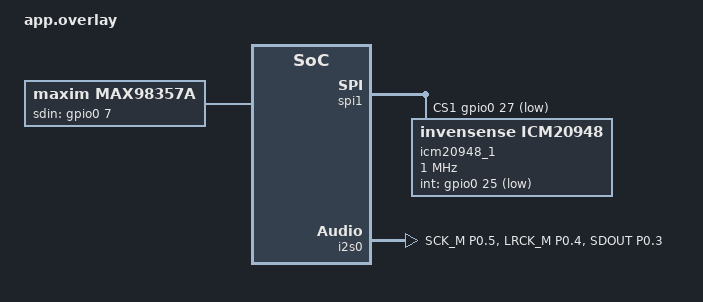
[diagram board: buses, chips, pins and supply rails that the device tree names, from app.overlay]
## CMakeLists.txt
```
cmake_minimum_required(VERSION 3.20.0)
find_package(Zephyr REQUIRED HINTS $ENV{ZEPHYR_BASE})

project(muscle_stiffness)

if(CONFIG_APP_DUAL_I2C_Z_FIFO)
target_sources(app PRIVATE src/dual_i2c_z_fifo.c)
elseif(CONFIG_APP_DUAL_I2C_Z)
target_sources(app PRIVATE src/dual_i2c_z.c)
elseif(CONFIG_APP_IMU_I2C_DIAG)
target_sources(app PRIVATE src/i2c_diag.c)
else()
target_sources(app PRIVATE
  src/main.c
  src/icm20948.c
  src/max98357a.c
)
endif()

target_include_directories(app PRIVATE include)
```

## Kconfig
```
# Fixed-frequency MAX98357A tone test
#
# The nRF52832 I2S peripheral runs at 8 kHz because that is the only
# MAX98357A-supported LRCLK rate that the 32 MHz clock can divide exactly.
# Keep the tone below 2 kHz so there are at least four samples per cycle.

mainmenu "nRF52832 MAX98357A tone test"

config APP_DUAL_I2C_Z_FIFO
	bool "Dual independent I2C Z acceleration acquisition via hardware FIFO"
	default n

config APP_DUAL_I2C_Z
	bool "Dual independent I2C Z acceleration acquisition"
	default n

config APP_IMU_I2C_DIAG
	bool "Standalone ICM20948 I2C diagnostic"
	default n

config APP_TONE_FREQ_HZ
	int "Fixed tone frequency (Hz)"
	default 400
	range 20 2000
	help
	  Frequency of the continuous sine tone sent to the MAX98357A.
	  The value is compiled into the image; change it and rebuild to use
	  a different fixed frequency.

config APP_TONE_AMPLITUDE
	int "Tone amplitude (16-bit PCM counts)"
	default 8000
	range 0 32767
	help
	  Peak amplitude of the sine tone.  8000 is about -12 dBFS, a
	  deliberately conservative level for the first hardware test.

source "Kconfig.zephyr"
```

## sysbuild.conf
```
SB_CONFIG_BOOTLOADER_MCUBOOT=y
SB_CONFIG_MCUBOOT_MODE_SINGLE_APP=y
SB_CONFIG_BOOT_SIGNATURE_TYPE_ECDSA_P256=y
```

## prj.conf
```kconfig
# Fixed test tone: 400 Hz at about -12 dBFS.  Change these and rebuild to
# select another fixed frequency/level.
CONFIG_APP_TONE_FREQ_HZ=400
CONFIG_APP_TONE_AMPLITUDE=8000

# Board / console
CONFIG_CLOCK_CONTROL_NRF_K32SRC_RC=y
CONFIG_CONSOLE=y
CONFIG_SERIAL=y
CONFIG_UART_CONSOLE=y
CONFIG_PRINTK=y
CONFIG_LOG=y
CONFIG_LOG_MODE_IMMEDIATE=y
CONFIG_LOG_DEFAULT_LEVEL=3

# Drivers used by the application
CONFIG_GPIO=y
CONFIG_SPI=y
CONFIG_I2S=y
CONFIG_I2S_NRFX_TX_BLOCK_COUNT=4

# UART runs without hardware flow control; its pinctrl state is reduced to
# TX/RX in app.overlay so P0.05 and P0.07 are free for I2S.

# Main thread starts the tone thread and reports both IMUs every 2 seconds.
CONFIG_MAIN_STACK_SIZE=2048
```

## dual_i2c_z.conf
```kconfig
CONFIG_APP_DUAL_I2C_Z=y
CONFIG_I2C=y
CONFIG_LOG_MODE_IMMEDIATE=n
CONFIG_LOG_MODE_DEFERRED=y
```

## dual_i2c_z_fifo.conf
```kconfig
CONFIG_APP_DUAL_I2C_Z_FIFO=y
CONFIG_I2C=y
CONFIG_LOG_MODE_IMMEDIATE=n
CONFIG_LOG_MODE_DEFERRED=y
```

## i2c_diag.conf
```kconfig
CONFIG_APP_IMU_I2C_DIAG=y
CONFIG_I2C=y
```

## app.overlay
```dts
/*
 * Board overlay for the nRF52 DK (nRF52832).
 *
 * IMU pin range: P0.00-P0.08 and P0.25-P0.31, single SPI bus.
 *
 * P0.00/P0.01 are the 32.768 kHz crystal (XL1/XL2) on the DK, P0.02 is AREF,
 * P0.03/P0.04/P0.05/P0.07 are the MAX98357A I2S + SD_MODE pins, and P0.06/
 * P0.08 are the UART console.  There is therefore no usable 4.5 kHz signal
 * pin left in P0.00-P0.08.  All seven IMU signals are placed in P0.25-P0.31:
 *
 *   P0.31 = SCK    (SPI1 default)
 *   P0.30 = MOSI   (SPI1 default)
 *   P0.29 = MISO   (SPI1 default)
 *   P0.28 = CS1
 *   P0.27 = CS2    (I2C0 SCL on the DK, I2C0 is disabled below)
 *   P0.26 = INT1   (I2C0 SDA on the DK; use suitable level translation)
 *   P0.25 = INT2
 *
 * The DK push buttons P0.13-P0.16 have debouncing capacitors and are not used
 * for the 4.5 kHz data-ready edges.
 */

#include <zephyr/dt-bindings/gpio/gpio.h>

/ {
	max98357a: max98357a {
		compatible = "maxim,max98357a";
		status = "okay";
		i2s-controller = <&i2s0>;
		sdin-gpios = <&gpio0 7 GPIO_ACTIVE_HIGH>;
		sample-rate = <8000>;
		word-size = <16>;
		preload-blocks = <3>;
	};
};

/* ------------------------------------------------------------------------- */
/* UART console / MCUboot serial recovery.                                    */
/* Board silk (CH340 side): TXD -> P0.06, RXD <- P0.08.  The MCU therefore    */
/* transmits on P0.08 and receives on P0.06.  Do not use the nRF52 DK default */
/* P0.06=TX / P0.08=RX assignment on this board.  P0.05/P0.07 stay free for   */
/* the MAX98357A.                                                             */
/* ------------------------------------------------------------------------- */
&uart0 {
	/delete-property/ hw-flow-control;
};

&uart0_default {
	group1 {
		psels = <NRF_PSEL(UART_TX, 0, 8)>,
			<NRF_PSEL(UART_RX, 0, 6)>;
	};
};

&uart0_sleep {
	group1 {
		psels = <NRF_PSEL(UART_RX, 0, 6)>;
	};
	group2 {
		psels = <NRF_PSEL(UART_TX, 0, 8)>;
	};
};

/* ------------------------------------------------------------------------- */
/* P0.26/P0.27 are used by the IMU, so disable I2C0.                          */
/* P0.25/P0.23/P0.24 belong to SPI2's Arduino pin configuration; disable it. */
/* ------------------------------------------------------------------------- */
&i2c0 {
	status = "disabled";
};

&spi2 {
	status = "disabled";
};

/* ------------------------------------------------------------------------- */
/* SPI1: one bus, two chip selects, 1 MHz for bring-up, EasyDMA.             */
/* P0.31 = SCK, P0.30 = MOSI, P0.29 = MISO (board default SPI1 pins).         */
/* P0.28 = CS1, P0.27 = CS2.                                                  */
/* GY-ICM20948V2 CS/SDO/INT are 1.8 V signals: see README section 4.2.        */
/* ------------------------------------------------------------------------- */
&spi1 {
	compatible = "nordic,nrf-spim";
	status = "okay";
	cs-gpios = <&gpio0 28 GPIO_ACTIVE_LOW>,
		   <&gpio0 27 GPIO_ACTIVE_LOW>;
	pinctrl-0 = <&spi1_default>;
	pinctrl-1 = <&spi1_sleep>;
	pinctrl-names = "default", "sleep";

	icm20948_0: icm20948@0 {
		compatible = "invensense,icm20948";
		reg = <0>;
		/* Single-device test: keep CS0 inactive, only access IMU1. */
		status = "disabled";
		spi-max-frequency = <1000000>;
		int-gpios = <&gpio0 26 (GPIO_ACTIVE_LOW | GPIO_PULL_UP)>;
		accel-range-g = <8>;
		gyro-range-dps = <500>;
		accel-dlpf-bypass;
		gyro-dlpf-cfg = <7>;
		gyro-sample-rate-div = <0>;
	};

	icm20948_1: icm20948@1 {
		compatible = "invensense,icm20948";
		reg = <1>;
		status = "okay";
		spi-max-frequency = <1000000>;
		int-gpios = <&gpio0 25 (GPIO_ACTIVE_LOW | GPIO_PULL_UP)>;
		accel-range-g = <8>;
		gyro-range-dps = <500>;
		accel-dlpf-bypass;
		gyro-dlpf-cfg = <7>;
		gyro-sample-rate-div = <0>;
	};
};

/* ------------------------------------------------------------------------- */
/* I2S0: MAX98357A does not need MCLK.                                        */
/* P0.05 = BCLK, P0.04 = LRCLK, P0.03 = DIN                                  */
/* ------------------------------------------------------------------------- */
&pinctrl {
	i2s0_default: i2s0_default {
		group1 {
			psels = <NRF_PSEL(I2S_SCK_M, 0, 5)>,
				<NRF_PSEL(I2S_LRCK_M, 0, 4)>,
				<NRF_PSEL(I2S_SDOUT, 0, 3)>;
		};
	};

	i2s0_sleep: i2s0_sleep {
		group1 {
			psels = <NRF_PSEL(I2S_SCK_M, 0, 5)>,
				<NRF_PSEL(I2S_LRCK_M, 0, 4)>,
				<NRF_PSEL(I2S_SDOUT, 0, 3)>;
			low-power-enable;
		};
	};
};

&i2s0 {
	status = "okay";
	clock-source = "PCLK32M_HFXO";
	pinctrl-0 = <&i2s0_default>;
	pinctrl-1 = <&i2s0_sleep>;
	pinctrl-names = "default", "sleep";
};
```

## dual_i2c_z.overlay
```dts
&spi0 { status = "disabled"; };
&spi1 { status = "disabled"; };
&icm20948_0 { status = "disabled"; };
&icm20948_1 { status = "disabled"; };
&max98357a { status = "disabled"; };
&i2s0 { status = "disabled"; };
&pinctrl {
	dual0_default: dual0_default {
		group1 { psels = <NRF_PSEL(TWIM_SCL, 0, 29)>, <NRF_PSEL(TWIM_SDA, 0, 28)>; };
	};
	dual0_sleep: dual0_sleep {
		group1 { psels = <NRF_PSEL(TWIM_SCL, 0, 29)>, <NRF_PSEL(TWIM_SDA, 0, 28)>; low-power-enable; };
	};
	dual1_default: dual1_default {
		group1 { psels = <NRF_PSEL(TWIM_SCL, 0, 31)>, <NRF_PSEL(TWIM_SDA, 0, 30)>; };
	};
	dual1_sleep: dual1_sleep {
		group1 { psels = <NRF_PSEL(TWIM_SCL, 0, 31)>, <NRF_PSEL(TWIM_SDA, 0, 30)>; low-power-enable; };
	};
};
&i2c0 {
	compatible = "nordic,nrf-twim";
	status = "okay";
	clock-frequency = <400000>;
	pinctrl-0 = <&dual0_default>;
	pinctrl-1 = <&dual0_sleep>;
	pinctrl-names = "default", "sleep";
};
&i2c1 {
	compatible = "nordic,nrf-twim";
	status = "okay";
	clock-frequency = <400000>;
	pinctrl-0 = <&dual1_default>;
	pinctrl-1 = <&dual1_sleep>;
	pinctrl-names = "default", "sleep";
};
```

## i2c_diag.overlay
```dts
/* Apply after app.overlay. Keep the existing SCL/SDA wires. */
&spi1 { status = "disabled"; };
&icm20948_0 { status = "disabled"; };
&icm20948_1 { status = "disabled"; };
&max98357a { status = "disabled"; };
&i2s0 { status = "disabled"; };
&pinctrl {
	diag_i2c_default: diag_i2c_default {
		group1 {
			psels = <NRF_PSEL(TWIM_SCL, 0, 31)>,
				<NRF_PSEL(TWIM_SDA, 0, 30)>;
		};
	};
	diag_i2c_sleep: diag_i2c_sleep {
		group1 {
			psels = <NRF_PSEL(TWIM_SCL, 0, 31)>,
				<NRF_PSEL(TWIM_SDA, 0, 30)>;
			low-power-enable;
		};
	};
};
&i2c0 {
	status = "okay";
	clock-frequency = <100000>;
	pinctrl-0 = <&diag_i2c_default>;
	pinctrl-1 = <&diag_i2c_sleep>;
	pinctrl-names = "default", "sleep";
};
```

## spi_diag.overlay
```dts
/* Conservative SPI bring-up; use with the normal application. */
&icm20948_1 {
	spi-max-frequency = <125000>;
	spi-cs-setup-delay-ns = <10000>;
	spi-cs-hold-delay-ns = <10000>;
};
```

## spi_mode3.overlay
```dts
#include "spi_diag.overlay"
&icm20948_1 {
	spi-cpol;
	spi-cpha;
};
```

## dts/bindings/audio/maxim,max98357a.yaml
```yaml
# Copyright (c) 2026
# SPDX-License-Identifier: Apache-2.0

description: |
  Maxim MAX98357A PCM/I2S class-D audio amplifier.

  The device has no control bus: BCLK, LRCLK and DIN are driven by the I2S
  controller, while SD_MODE is controlled by a GPIO.  SD_MODE is a
  multi-level pin; driving it high selects the left channel and takes the
  device out of shutdown.

compatible: "maxim,max98357a"

include: base.yaml

properties:
  i2s-controller:
    type: phandle
    required: true
    description: I2S controller that drives BCLK, LRCLK and DIN.

  sdin-gpios:
    type: phandle-array
    required: true
    description: |
      GPIO connected to SD_MODE.  Declare this GPIO active-high.  A low level
      puts the amplifier in shutdown, a high level enables the left channel.

  sample-rate:
    type: int
    default: 8000
    description: |
      LRCLK frequency.  The MAX98357A only accepts 8, 16, 32, 44.1, 48,
      88.2 and 96 kHz.  On nRF52832, 8 kHz is the only one of these that the
      internal 32 MHz clock can generate exactly (32 MHz / 125 / 32).

  word-size:
    type: int
    default: 16
    enum: [16]
    description: I2S word size in bits (this driver implements 16-bit PCM).

  preload-blocks:
    type: int
    default: 3
    enum: [1, 2, 3, 4]
    description: Number of silence blocks queued before starting the I2S clocks.
```

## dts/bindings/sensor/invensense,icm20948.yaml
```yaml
# Copyright (c) 2026
# SPDX-License-Identifier: Apache-2.0

description: |
  InvenSense ICM-20948 9-axis IMU, SPI mode.

  The driver configures the accelerometer and gyroscope for low-noise
  operation and uses the INT1 pin as a data-ready interrupt.

compatible: "invensense,icm20948"

include: [spi-device.yaml, base.yaml]

properties:
  int-gpios:
    type: phandle-array
    required: true
    description: |
      ICM-20948 INT1 pin connected to an MCU GPIO.  The driver programs the
      sensor for open-drain, active-low, latched operation when this GPIO is
      declared GPIO_ACTIVE_LOW, and for push-pull, active-high operation
      otherwise.

  accel-range-g:
    type: int
    default: 8
    enum: [2, 4, 8, 16]
    description: Accelerometer full-scale range in g.

  gyro-range-dps:
    type: int
    default: 500
    enum: [250, 500, 1000, 2000]
    description: Gyroscope full-scale range in degrees/second.

  accel-dlpf-bypass:
    type: boolean
    description: |
      Bypass the accelerometer DLPF.  This gives a 4500 Hz output rate and a
      nominal 1209 Hz -3 dB bandwidth, which is the mode intended for the
      mechano-acoustic measurement (50-800 Hz).

  accel-dlpf-cfg:
    type: int
    default: 7
    enum: [0, 1, 2, 3, 4, 5, 6, 7]
    description: Accelerometer DLPF configuration when the DLPF is enabled.

  gyro-dlpf-bypass:
    type: boolean
    description: Bypass the gyroscope DLPF (9000 Hz output rate).

  gyro-dlpf-cfg:
    type: int
    default: 7
    enum: [0, 1, 2, 3, 4, 5, 6, 7]
    description: Gyroscope DLPF configuration when the DLPF is enabled.

  gyro-sample-rate-div:
    type: int
    default: 0
    description: |
      Gyroscope sample-rate divider.  With the DLPF enabled the output rate
      is 1125/(1 + divider) Hz.

  vddio-millivolt:
    type: int
    default: 1800
    description: |
      VDDIO of the sensor module, used only for informational purposes by the
      application.  It does not change the register configuration.
```

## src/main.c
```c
/*
 * Fixed-frequency MAX98357A test tone.
 *
 * The nRF52832 I2S controller is configured for 8 kHz, 16-bit stereo.  The
 * MAX98357A is one of the few class-D amplifiers that accepts an 8 kHz LRCLK,
 * and 8 kHz is the only rate the nRF52832's 32 MHz clock can generate exactly
 * for the amplifier's supported LRCLK list.
 *
 * A single continuous sine wave is streamed from one thread.  The phase
 * accumulator is kept across blocks so block boundaries do not introduce a
 * discontinuity.  The tone frequency and amplitude are selected at build time
 * through Kconfig (CONFIG_APP_TONE_FREQ_HZ / CONFIG_APP_TONE_AMPLITUDE).
 *
 * Wiring (nRF52 DK pin names):
 *   P0.05 -> MAX98357A BCLK
 *   P0.04 -> MAX98357A LRC / LRCLK
 *   P0.03 -> MAX98357A DIN
 *   P0.07 -> MAX98357A SD / EN
 *   GND   -> MAX98357A GND
 *   VIN   -> dedicated 3.3 V or 5 V supply, not the DK 3.3 V pin
 */

#include <stdint.h>

#include <zephyr/device.h>
#include <zephyr/kernel.h>
#include <zephyr/sys/printk.h>
#include <zephyr/sys/util.h>

#include "icm20948.h"
#include "max98357a.h"

#define AMP_NODE DT_NODELABEL(max98357a)
#define IMU0_NODE DT_NODELABEL(icm20948_0)
#define IMU1_NODE DT_NODELABEL(icm20948_1)

#define TONE_FRAMES 128U
#define TONE_SAMPLE_RATE 8000U

/* A full cycle of sine, scaled to 16-bit signed full scale. */
static const int16_t sine_table[256] = {
	     0,    804,   1608,   2410,   3212,   4011,   4808,   5602,
	  6393,   7179,   7962,   8739,   9512,  10278,  11039,  11793,
	 12539,  13279,  14010,  14732,  15446,  16151,  16846,  17530,
	 18204,  18868,  19519,  20159,  20787,  21403,  22005,  22594,
	 23170,  23731,  24279,  24811,  25329,  25832,  26319,  26790,
	 27245,  27683,  28105,  28510,  28898,  29268,  29621,  29956,
	 30273,  30571,  30852,  31113,  31356,  31580,  31785,  31971,
	 32137,  32285,  32412,  32521,  32609,  32678,  32728,  32757,
	 32767,  32757,  32728,  32678,  32609,  32521,  32412,  32285,
	 32137,  31971,  31785,  31580,  31356,  31113,  30852,  30571,
	 30273,  29956,  29621,  29268,  28898,  28510,  28105,  27683,
	 27245,  26790,  26319,  25832,  25329,  24811,  24279,  23731,
	 23170,  22594,  22005,  21403,  20787,  20159,  19519,  18868,
	 18204,  17530,  16846,  16151,  15446,  14732,  14010,  13279,
	 12539,  11793,  11039,  10278,   9512,   8739,   7962,   7179,
	  6393,   5602,   4808,   4011,   3212,   2410,   1608,    804,
	     0,   -804,  -1608,  -2410,  -3212,  -4011,  -4808,  -5602,
	 -6393,  -7179,  -7962,  -8739,  -9512, -10278, -11039, -11793,
	-12539, -13279, -14010, -14732, -15446, -16151, -16846, -17530,
	-18204, -18868, -19519, -20159, -20787, -21403, -22005, -22594,
	-23170, -23731, -24279, -24811, -25329, -25832, -26319, -26790,
	-27245, -27683, -28105, -28510, -28898, -29268, -29621, -29956,
	-30273, -30571, -30852, -31113, -31356, -31580, -31785, -31971,
	-32137, -32285, -32412, -32521, -32609, -32678, -32728, -32757,
	-32767, -32757, -32728, -32678, -32609, -32521, -32412, -32285,
	-32137, -31971, -31785, -31580, -31356, -31113, -30852, -30571,
	-30273, -29956, -29621, -29268, -28898, -28510, -28105, -27683,
	-27245, -26790, -26319, -25832, -25329, -24811, -24279, -23731,
	-23170, -22594, -22005, -21403, -20787, -20159, -19519, -18868,
	-18204, -17530, -16846, -16151, -15446, -14732, -14010, -13279,
	-12539, -11793, -11039, -10278,  -9512,  -8739,  -7962,  -7179,
	 -6393,  -5602,  -4808,  -4011,  -3212,  -2410,  -1608,   -804,
};

static const struct device *const amp_dev = DEVICE_DT_GET(AMP_NODE);

static const uint32_t tone_phase_inc =
	(uint32_t)(((uint64_t)CONFIG_APP_TONE_FREQ_HZ << 32) /
		   TONE_SAMPLE_RATE);

BUILD_ASSERT(CONFIG_APP_TONE_FREQ_HZ >= 20 &&
	     CONFIG_APP_TONE_FREQ_HZ <= 2000,
	     "tone frequency out of supported range");

static void fill_tone(int16_t *frames, size_t frame_count, uint32_t *phase)
{
	for (size_t i = 0; i < frame_count; i++) {
		int16_t sample = sine_table[*phase >> 24];
		int32_t scaled = ((int32_t)sample *
				  CONFIG_APP_TONE_AMPLITUDE) / 32767;

		frames[2 * i] = (int16_t)scaled;
		frames[2 * i + 1] = (int16_t)scaled;
		*phase += tone_phase_inc;
	}
}

static void tone_thread(void *p1, void *p2, void *p3)
{
	const struct device *dev = p1;
	static int16_t frames[TONE_FRAMES * 2];
	uint32_t phase = 0;
	uint32_t consecutive_errors = 0;
	int ret;

	ARG_UNUSED(p2);
	ARG_UNUSED(p3);

	ret = max98357a_start(dev);
	if (ret != 0) {
		printk("AMP: start failed (%d)\n", ret);
		return;
	}

	printk("AMP: playing %d Hz at %u Hz sample rate, amplitude %d\n",
	       CONFIG_APP_TONE_FREQ_HZ, max98357a_sample_rate(dev),
	       CONFIG_APP_TONE_AMPLITUDE);

	while (true) {
		fill_tone(frames, TONE_FRAMES, &phase);

		ret = max98357a_write(dev, frames, TONE_FRAMES);
		if (ret == 0) {
			if (consecutive_errors != 0) {
				printk("AMP: stream recovered after %u errors\n",
				       consecutive_errors);
				consecutive_errors = 0;
			}
			continue;
		}

		consecutive_errors++;

		/* A dropped stream leaves the I2S block unusable.  Stop it
		 * cleanly (SD_MODE first) and restart the clock/amplifier.
		 */
		if (ret == -EIO) {
			int write_ret = ret;

			(void)max98357a_stop(dev);
			k_msleep(5);
			ret = max98357a_start(dev);
			if (ret != 0) {
				printk("AMP: restart failed (%d)\n", ret);
			}
			ret = write_ret;
		}

		if (consecutive_errors == 1 ||
		    (consecutive_errors % 100U) == 0U) {
			printk("AMP: write failed (%d), errors=%u\n", ret,
			       consecutive_errors);
		}

		k_msleep(1);
	}
}

K_THREAD_STACK_DEFINE(tone_stack, 1536);
static struct k_thread tone_thread_desc;

static const struct {
	const struct device *dev;
	unsigned int id;
} imu_dev[] = {
#if DT_NODE_HAS_STATUS(IMU0_NODE, okay)
	{ DEVICE_DT_GET(IMU0_NODE), 0 },
#endif
#if DT_NODE_HAS_STATUS(IMU1_NODE, okay)
	{ DEVICE_DT_GET(IMU1_NODE), 1 },
#endif
};

static void imu_report_once(void)
{
	for (size_t i = 0; i < ARRAY_SIZE(imu_dev); i++) {
		const struct device *dev = imu_dev[i].dev;
		bool ready = device_is_ready(dev);
		uint8_t who_am_i = 0;
		int ret;

		ret = icm20948_get_who_am_i(dev, &who_am_i);
		if (!ready) {
			printk("IMU%u: ready=0 who=0x%02x read_ret=%d\n",
			       imu_dev[i].id, who_am_i, ret);
			continue;
		}
		if (ret != 0 || who_am_i != ICM20948_WHO_AM_I_VALUE) {
			printk("IMU%u: communication lost, who=0x%02x read_ret=%d\n",
			       imu_dev[i].id, who_am_i, ret);
			continue;
		}

		struct icm20948_sample sample;
		struct icm20948_stats stats;

		ret = icm20948_read(dev, &sample);
		if (ret != 0) {
			printk("IMU%u: WHO=0x%02x sample read failed (%d)\n",
			       imu_dev[i].id, who_am_i, ret);
			continue;
		}

		icm20948_get_stats(dev, &stats);
		printk("IMU%u: WHO=0x%02x acc_mg=(%d,%d,%d) "
		       "gyro_mdps=(%d,%d,%d) irq=%u ovr=%u err=%u\n",
		       imu_dev[i].id, who_am_i,
		       sample.accel[0] * 1000 / 4096,
		       sample.accel[1] * 1000 / 4096,
		       sample.accel[2] * 1000 / 4096,
		       sample.gyro[0] * 2000 / 131,
		       sample.gyro[1] * 2000 / 131,
		       sample.gyro[2] * 2000 / 131,
		       stats.irq_count, stats.overrun_count,
		       stats.error_count);
	}
}

int main(void)
{
	printk("\n*** nRF52832 MAX98357A fixed-tone test ***\n");
	printk("Tone: %d Hz, amplitude %d/32767, LRCLK: %u Hz\n",
	       CONFIG_APP_TONE_FREQ_HZ, CONFIG_APP_TONE_AMPLITUDE,
	       TONE_SAMPLE_RATE);
	printk("Pins: BCLK=P0.05 LRCLK=P0.04 DIN=P0.03 SD=P0.07\n");

	if (!device_is_ready(amp_dev)) {
		printk("AMP: device not ready\n");
	} else {
		k_thread_create(&tone_thread_desc, tone_stack,
			K_THREAD_STACK_SIZEOF(tone_stack), tone_thread,
			(void *)amp_dev, NULL, NULL, 6, 0, K_NO_WAIT);
		k_thread_name_set(&tone_thread_desc, "tone");
	}

	printk("IMU: reporting %u enabled device(s) once every 2 s\n",
	       (unsigned int)ARRAY_SIZE(imu_dev));

	while (true) {
		imu_report_once();
		k_msleep(2000);
	}

	return 0;
}
```

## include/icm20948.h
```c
/*
 * ICM-20948 SPI driver for Zephyr.
 *
 * The driver owns the device configuration (reset, clock source, ranges,
 * DLPF, data-ready interrupt) and exposes a small, high-rate read API.
 * Two devices can share one SPI bus when each has its own chip select and
 * data-ready GPIO.
 *
 * Concurrency:
 *   - icm20948_read()/icm20948_read_wait() may be called from one thread per
 *     device.  Register access is serialized by an internal mutex.
 *   - icm20948_wait_data() only consumes the data-ready semaphore.
 *
 * The two ICM-20948 dies have independent clocks.  The timestamp is the
 * local k_cycle_get_32() value captured in the data-ready interrupt; it can
 * be used to measure each sensor's sample cadence, but it does not make the
 * two sensors sample simultaneously.
 */

#ifndef ICM20948_H_
#define ICM20948_H_

#include <stdint.h>

#include <zephyr/device.h>
#include <zephyr/kernel.h>

#ifdef __cplusplus
extern "C" {
#endif

/** Expected value of the WHO_AM_I register (bank 0, address 0x00). */
#define ICM20948_WHO_AM_I_VALUE 0xEA

/** One raw sample, in sensor LSBs. */
struct icm20948_sample {
	/** k_cycle_get_32() taken in the data-ready interrupt. */
	uint32_t timestamp;
	/** Data-ready sequence number.  Gaps indicate a missed interrupt. */
	uint32_t sequence;
	/** Raw accelerometer X/Y/Z, big-endian registers converted to host order. */
	int16_t accel[3];
	/** Raw gyroscope X/Y/Z. */
	int16_t gyro[3];
	/** Raw temperature output. */
	int16_t temperature;
};

/** Driver counters.  All fields are monotonically increasing. */
struct icm20948_stats {
	uint32_t irq_count;
	uint32_t sample_count;
	uint32_t overrun_count;
	uint32_t error_count;
};

/**
 * @brief Read one sample immediately.
 *
 * This function does not wait for a data-ready edge.  It is normally called
 * after icm20948_wait_data() or icm20948_read_wait().
 *
 * @return 0 on success, negative errno on failure.
 */
int icm20948_read(const struct device *dev, struct icm20948_sample *sample);

/**
 * @brief Wait for a data-ready edge and read one sample.
 *
 * @param timeout Timeout, for example K_MSEC(10).
 * @return 0 on success, -EAGAIN on timeout, other negative errno on failure.
 */
int icm20948_read_wait(const struct device *dev,
		       struct icm20948_sample *sample,
		       k_timeout_t timeout);

/**
 * @brief Wait for the next data-ready edge without reading the sensor.
 *
 * @return 0 on success, -EAGAIN on timeout.
 */
int icm20948_wait_data(const struct device *dev, k_timeout_t timeout);

/**
 * @brief Read the WHO_AM_I register.
 *
 * This is useful for a production test or a board bring-up check and can be
 * called after icm20948_init() has completed.
 */
int icm20948_get_who_am_i(const struct device *dev, uint8_t *id);

/** @brief Snapshot the driver counters. */
void icm20948_get_stats(const struct device *dev, struct icm20948_stats *stats);

/** @brief Accelerometer sensitivity in LSB/g for the configured range. */
float icm20948_accel_lsb_per_g(const struct device *dev);

/** @brief Gyroscope sensitivity in LSB/(deg/s) for the configured range. */
float icm20948_gyro_lsb_per_dps(const struct device *dev);

/** @brief Convert a raw temperature word to degrees Celsius. */
float icm20948_temp_to_c(int16_t raw);

#ifdef __cplusplus
}
#endif

#endif /* ICM20948_H_ */
```

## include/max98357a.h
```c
/*
 * MAX98357A I2S Class-D amplifier driver for Zephyr.
 *
 * The MAX98357A has no register interface.  This driver wraps the I2S
 * controller and the SD_MODE GPIO with the correct ordering:
 *   start: configure I2S -> preload silence -> start clocks -> enable amp
 *   stop : disable amp first -> drop I2S stream (never remove LRCLK while
 *          BCLK is still running)
 *
 * Sample format is signed 16-bit, stereo interleaved (left, right).  The
 * MAX98357A in SD_MODE=high uses the left channel, so write the desired mono
 * waveform to both channels.
 */

#ifndef MAX98357A_H_
#define MAX98357A_H_

#include <stdbool.h>
#include <stddef.h>
#include <stdint.h>

#include <zephyr/device.h>

#ifdef __cplusplus
extern "C" {
#endif

/**
 * @brief Start the I2S clocks and take the amplifier out of shutdown.
 *
 * A few blocks of silence are queued first so the amplifier does not see a
 * clock that disappears immediately.  The caller should start writing audio
 * blocks right after this function returns.
 *
 * @return 0 on success, negative errno on failure.
 */
int max98357a_start(const struct device *dev);

/**
 * @brief Stop the stream.
 *
 * SD_MODE is driven low first, then the I2S stream is dropped.  Calling this
 * function when the stream is already stopped is harmless.
 */
int max98357a_stop(const struct device *dev);

/**
 * @brief Queue one block of stereo 16-bit PCM.
 *
 * The data is copied into a driver-owned I2S block before the function
 * returns, so the caller may reuse the buffer immediately.  The function
 * blocks while the TX queue is full (bounded by the I2S timeout).
 *
 * @param frames  Number of stereo frames.  frames * 4 bytes must not exceed
 *                the driver block size (512 bytes, i.e. 128 frames).
 *
 * @return 0 on success, -EINVAL for an invalid size, -EIO if not started.
 */
int max98357a_write(const struct device *dev, const int16_t *frames,
		    size_t frame_count);

/** @brief Configured LRCLK / sample rate in Hz. */
uint32_t max98357a_sample_rate(const struct device *dev);

/** @brief Number of frames that fit in one block. */
size_t max98357a_max_frames(const struct device *dev);

/** @brief Direct control of SD_MODE, mainly for bring-up tests. */
int max98357a_enable(const struct device *dev, bool enable);

#ifdef __cplusplus
}
#endif

#endif /* MAX98357A_H_ */
```

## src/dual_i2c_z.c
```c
/* Independent buses/threads. Status polling is not a lossless recorder:
 * DRDY is a flag, not a sample counter. No claim of cross-IMU synchronization.
 */
#include <zephyr/kernel.h>
#include <zephyr/drivers/i2c.h>
#include <zephyr/sys/atomic.h>
#include <zephyr/sys/printk.h>

struct channel {
	const struct device *bus;
	atomic_t ready, count, errors, z;
};
static struct channel channels[2] = {
	{ .bus = DEVICE_DT_GET(DT_NODELABEL(i2c0)) },
	{ .bus = DEVICE_DT_GET(DT_NODELABEL(i2c1)) },
};

static int write_check(struct channel *c, uint8_t reg, uint8_t value)
{
	uint8_t actual = 0;
	int ret = i2c_reg_write_byte(c->bus, 0x68, reg, value);
	if (!ret) ret = i2c_reg_read_byte(c->bus, 0x68, reg, &actual);
	if (!ret && actual != value) ret = -EIO;
	if (ret) printk("%s reg=%02x expected=%02x actual=%02x ret=%d\n",
		c->bus->name, reg, value, actual, ret);
	return ret;
}

static int setup(struct channel *c)
{
	uint8_t id = 0;
	int ret;
	if (!device_is_ready(c->bus)) return -ENODEV;
	ret = write_check(c, 0x7f, 0);
	if (ret) return ret;
	ret = i2c_reg_read_byte(c->bus, 0x68, 0, &id);
	printk("%s WHO_AM_I=0x%02x ret=%d\n", c->bus->name, id, ret);
	if (ret || id != 0xea) return ret ? ret : -ENODEV;
	ret = i2c_reg_write_byte(c->bus, 0x68, 0x06, 0x80);
	if (ret) return ret;
	k_msleep(100);
	if ((ret = write_check(c, 0x7f, 0))) return ret;
	if ((ret = write_check(c, 0x06, 0x01))) return ret;
	k_msleep(10);
	/* All accelerometer axes enabled, gyro disabled; payload is Z only. */
	if ((ret = write_check(c, 0x07, 0x07))) return ret;
	if ((ret = write_check(c, 0x05, 0))) return ret;
	if ((ret = write_check(c, 0x03, 0))) return ret;
	if ((ret = write_check(c, 0x7f, 0x20))) return ret;
	/* +/-8 g, DLPF bypass, nominal accelerometer ODR 4500 Hz. */
	if ((ret = write_check(c, 0x14, 0x04))) return ret;
	if ((ret = write_check(c, 0x7f, 0))) return ret;
	/* Only reading INT_STATUS_1 clears DRDY; no physical INT needed. */
	if ((ret = write_check(c, 0x0f, 0))) return ret;
	if ((ret = write_check(c, 0x11, 1))) return ret;
	k_msleep(50);
	return 0;
}

static void worker(void *arg, void *unused1, void *unused2)
{
	struct channel *c = arg;
	ARG_UNUSED(unused1);
	ARG_UNUSED(unused2);
	k_msleep(150);
	while (true) {
		int ret = setup(c);
		if (ret) {
			atomic_inc(&c->errors);
			printk("%s init failed %d; retry in 2s\n", c->bus->name, ret);
			k_msleep(2000);
			continue;
		}
		atomic_set(&c->ready, 1);
		while (true) {
			uint8_t status = 0, raw[2];
			ret = i2c_reg_read_byte(c->bus, 0x68, 0x1a, &status);
			if (!ret && (status & 1)) {
				ret = i2c_burst_read(c->bus, 0x68, 0x31, raw, 2);
				if (!ret) {
					atomic_set(&c->z, (int16_t)((raw[0] << 8) | raw[1]));
					atomic_inc(&c->count);
				}
			}
			if (ret) {
				atomic_inc(&c->errors);
				atomic_set(&c->ready, 0);
				k_msleep(100);
				break;
			}
			k_yield();
		}
	}
}
K_THREAD_DEFINE(imu0_thread, 1536, worker, &channels[0], NULL, NULL, 5, 0, 0);
K_THREAD_DEFINE(imu1_thread, 1536, worker, &channels[1], NULL, NULL, 5, 0, 0);

int main(void)
{
	uint32_t previous[2] = {0};
	int64_t last = k_uptime_get();
	printk("DUAL I2C Z: IMU0 SCL=29 SDA=28; IMU1 SCL=31 SDA=30; 400kHz, addr=0x68\n");
	printk("+/-8g, 4096 LSB/g; nominal ODR=4500Hz; polled DRDY, NOT lossless/synchronized\n");
	while (true) {
		k_msleep(2000);
		int64_t now = k_uptime_get();
		for (int i = 0; i < 2; i++) {
			uint32_t count = (uint32_t)atomic_get(&channels[i].count);
			printk("IMU%d ready=%d z=%d reads/s=%u count=%u errors=%d\n", i,
				(int)atomic_get(&channels[i].ready), (int)atomic_get(&channels[i].z),
				(unsigned int)((count - previous[i]) * 1000ULL / (now-last)),
				count, (int)atomic_get(&channels[i].errors));
			previous[i] = count;
		}
		last = now;
	}
	return 0;
}
```

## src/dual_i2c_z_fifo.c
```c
/*
 * Dual independent I2C, Z-axis acceleration via the ICM20948 hardware FIFO.
 *
 * In single-FIFO configuration the hardware FIFO stores raw sensor packets
 * without a header: 6 bytes per accelerometer sample (X, Y, Z, big-endian).
 * Reading a batch amortizes the per-transaction cost, which is what limited
 * the register-polling version to about 1.2 kHz.
 *
 * Still not a lossless, synchronized recorder: each bus/thread has its own
 * FIFO and clock domain, and only the Z value plus a sample count is kept.
 */
#include <zephyr/kernel.h>
#include <zephyr/drivers/i2c.h>
#include <zephyr/sys/atomic.h>
#include <zephyr/sys/printk.h>

#define ICM_ADDR		0x68

/* Bank 0 */
#define REG_USER_CTRL		0x03
#define REG_PWR_MGMT_1		0x06
#define REG_PWR_MGMT_2		0x07
#define REG_FIFO_EN_1		0x66
#define REG_FIFO_EN_2		0x67
#define REG_FIFO_RST		0x68
#define REG_FIFO_MODE		0x69
#define REG_FIFO_COUNT_H	0x70
#define REG_FIFO_COUNT_L	0x71
#define REG_FIFO_R_W		0x72
#define REG_FIFO_CFG		0x76
#define REG_BANK_SEL		0x7f

/* Bank 2 */
#define REG_ACCEL_SMPLRT_DIV_1	0x10
#define REG_ACCEL_SMPLRT_DIV_2	0x11
#define REG_ACCEL_CONFIG	0x14

#define USER_CTRL_FIFO_EN	BIT(6)
#define FIFO_EN_2_ACCEL		BIT(4)
#define FIFO_SAMPLE_BYTES	6
#define FIFO_BATCH_SAMPLES	42	/* 252 bytes, fits the 256-byte EasyDMA limit */
#define FIFO_BATCH_BYTES	(FIFO_BATCH_SAMPLES * FIFO_SAMPLE_BYTES)

struct channel {
	const struct device *bus;
	atomic_t ready, count, errors, z, fifo_max;
	uint8_t buf[FIFO_BATCH_BYTES];
};

static struct channel channels[2] = {
	{ .bus = DEVICE_DT_GET(DT_NODELABEL(i2c0)) },
	{ .bus = DEVICE_DT_GET(DT_NODELABEL(i2c1)) },
};

static int reg_write(struct channel *c, uint8_t reg, uint8_t value)
{
	int ret = i2c_reg_write_byte(c->bus, ICM_ADDR, reg, value);

	if (ret) {
		printk("%s reg=%02x write %02x failed ret=%d\n",
		       c->bus->name, reg, value, ret);
	}
	return ret;
}

static int reg_write_check(struct channel *c, uint8_t reg, uint8_t value)
{
	uint8_t actual = 0;
	int ret = i2c_reg_write_byte(c->bus, ICM_ADDR, reg, value);

	if (!ret) {
		ret = i2c_reg_read_byte(c->bus, ICM_ADDR, reg, &actual);
	}
	if (!ret && actual != value) {
		ret = -EIO;
	}
	if (ret) {
		printk("%s reg=%02x expected=%02x actual=%02x ret=%d\n",
		       c->bus->name, reg, value, actual, ret);
	}
	return ret;
}

static int set_bank(struct channel *c, uint8_t bank)
{
	return reg_write_check(c, REG_BANK_SEL, (uint8_t)(bank << 4));
}

static int fifo_prepare(struct channel *c)
{
	uint8_t ctrl = 0;
	int ret;

	/* Stop the FIFO before changing its configuration. */
	ret = i2c_reg_read_byte(c->bus, ICM_ADDR, REG_USER_CTRL, &ctrl);
	if (ret) {
		return ret;
	}
	ret = reg_write(c, REG_USER_CTRL, ctrl & ~USER_CTRL_FIFO_EN);
	if (ret) {
		return ret;
	}

	/* Single FIFO, no header, all hardware sensor data concatenated. */
	if ((ret = reg_write_check(c, REG_FIFO_CFG, 0x00))) return ret;
	if ((ret = reg_write(c, REG_FIFO_RST, 0x1f))) return ret;
	k_msleep(2);
	if ((ret = reg_write(c, REG_FIFO_RST, 0x00))) return ret;
	if ((ret = reg_write(c, REG_FIFO_EN_1, 0x00))) return ret;
	if ((ret = reg_write(c, REG_FIFO_EN_2, FIFO_EN_2_ACCEL))) return ret;
	if ((ret = reg_write_check(c, REG_FIFO_EN_2, FIFO_EN_2_ACCEL))) return ret;
	if ((ret = reg_write_check(c, REG_FIFO_MODE, 0x00))) return ret;

	ctrl |= USER_CTRL_FIFO_EN;
	if ((ret = reg_write_check(c, REG_USER_CTRL, ctrl))) return ret;

	k_msleep(10);
	return 0;
}

static int setup(struct channel *c)
{
	uint8_t id = 0;
	int ret;

	if (!device_is_ready(c->bus)) {
		return -ENODEV;
	}

	/* Wake, reset, then select the automatic clock source. */
	if ((ret = set_bank(c, 0))) return ret;
	if ((ret = reg_write(c, REG_PWR_MGMT_1, 0x80))) return ret;
	k_msleep(100);
	if ((ret = reg_write_check(c, REG_PWR_MGMT_1, 0x01))) return ret;
	k_msleep(10);

	if ((ret = i2c_reg_read_byte(c->bus, ICM_ADDR, 0x00, &id))) return ret;
	printk("%s WHO_AM_I=0x%02x ret=%d\n", c->bus->name, id, ret);
	if (id != 0xea) return -ENODEV;

	/* Accelerometer on, gyroscope off, no low-power cycling. */
	if ((ret = reg_write_check(c, REG_PWR_MGMT_2, 0x07))) return ret;
	if ((ret = reg_write_check(c, 0x05, 0x00))) return ret;
	if ((ret = reg_write_check(c, 0x03, 0x00))) return ret;

	/* +/-8 g, DLPF bypassed, sample-rate divider zero (nominal 4500 Hz). */
	if ((ret = set_bank(c, 2))) return ret;
	if ((ret = reg_write_check(c, REG_ACCEL_SMPLRT_DIV_1, 0x00))) return ret;
	if ((ret = reg_write_check(c, REG_ACCEL_SMPLRT_DIV_2, 0x00))) return ret;
	if ((ret = reg_write_check(c, REG_ACCEL_CONFIG, 0x04))) return ret;

	if ((ret = set_bank(c, 0))) return ret;
	if ((ret = fifo_prepare(c))) return ret;

	atomic_set(&c->fifo_max, 0);
	return 0;
}

static int fifo_read(struct channel *c)
{
	uint8_t count_bytes[2];
	unsigned int count, bytes, samples;
	int ret;

	ret = i2c_burst_read(c->bus, ICM_ADDR, REG_FIFO_COUNT_H,
			     count_bytes, sizeof(count_bytes));
	if (ret) {
		return ret;
	}

	count = ((unsigned int)(count_bytes[0] & 0x1f) << 8) | count_bytes[1];
	if (count > (unsigned int)atomic_get(&c->fifo_max)) {
		atomic_set(&c->fifo_max, (int)count);
	}

	/* Only consume whole samples; a trailing partial sample stays in FIFO. */
	bytes = count - (count % FIFO_SAMPLE_BYTES);
	if (bytes > FIFO_BATCH_BYTES) {
		bytes = FIFO_BATCH_BYTES;
	}
	if (bytes == 0) {
		return 0;
	}

	ret = i2c_burst_read(c->bus, ICM_ADDR, REG_FIFO_R_W, c->buf, bytes);
	if (ret) {
		return ret;
	}

	samples = bytes / FIFO_SAMPLE_BYTES;
	for (unsigned int i = 0; i < samples; i++) {
		const uint8_t *p = &c->buf[i * FIFO_SAMPLE_BYTES];

		atomic_set(&c->z, (int16_t)(((uint16_t)p[4] << 8) | p[5]));
		atomic_inc(&c->count);
	}
	return 0;
}

static void worker(void *arg, void *unused1, void *unused2)
{
	struct channel *c = arg;
	ARG_UNUSED(unused1);
	ARG_UNUSED(unused2);

	k_msleep(150);
	while (true) {
		int ret = setup(c);

		if (ret) {
			atomic_inc(&c->errors);
			printk("%s init failed %d; retry in 2s\n", c->bus->name, ret);
			k_msleep(2000);
			continue;
		}

		atomic_set(&c->ready, 1);
		printk("%s FIFO ready: 6 bytes/sample, batch=%d bytes\n",
		       c->bus->name, FIFO_BATCH_BYTES);

		while (true) {
			ret = fifo_read(c);
			if (ret) {
				atomic_inc(&c->errors);
				atomic_set(&c->ready, 0);
				printk("%s fifo read failed %d; reinit\n",
				       c->bus->name, ret);
				k_msleep(100);
				break;
			}
			k_msleep(2);
		}
	}
}

K_THREAD_DEFINE(imu0_thread, 1536, worker, &channels[0], NULL, NULL, 5, 0, 0);
K_THREAD_DEFINE(imu1_thread, 1536, worker, &channels[1], NULL, NULL, 5, 0, 0);

int main(void)
{
	uint32_t previous[2] = {0};
	int64_t last = k_uptime_get();
	int fifo_peak[2] = {0};

	printk("DUAL I2C Z FIFO: IMU0 SCL=29 SDA=28; IMU1 SCL=31 SDA=30; 400kHz, addr=0x68\n");
	printk("+/-8g, 4096 LSB/g; nominal ODR=4500Hz; hardware FIFO, NOT synchronized\n");

	while (true) {
		k_msleep(2000);
		int64_t now = k_uptime_get();

		for (int i = 0; i < 2; i++) {
			uint32_t count = (uint32_t)atomic_get(&channels[i].count);
			int peak = (int)atomic_get(&channels[i].fifo_max);

			if (peak > fifo_peak[i]) {
				fifo_peak[i] = peak;
			}
			printk("IMU%d ready=%d z=%d samples/s=%u count=%u errors=%d fifo_max=%d\n",
			       i, (int)atomic_get(&channels[i].ready),
			       (int)atomic_get(&channels[i].z),
			       (unsigned int)((count - previous[i]) * 1000ULL / (now - last)),
			       count, (int)atomic_get(&channels[i].errors), fifo_peak[i]);
			previous[i] = count;
		}
		last = now;
	}
	return 0;
}
```

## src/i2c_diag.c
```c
#include <zephyr/kernel.h>
#include <zephyr/drivers/i2c.h>
#include <zephyr/sys/printk.h>

static const struct device *const bus = DEVICE_DT_GET(DT_NODELABEL(i2c0));

static int configure(uint16_t addr)
{
	int ret = i2c_reg_write_byte(bus, addr, 0x06, 0x80);
	if (ret) return ret;
	k_msleep(100);
	ret = i2c_reg_write_byte(bus, addr, 0x7f, 0);
	if (ret) return ret;
	ret = i2c_reg_write_byte(bus, addr, 0x06, 0x01);
	if (ret) return ret;
	ret = i2c_reg_write_byte(bus, addr, 0x07, 0);
	if (ret) return ret;
	k_msleep(50);
	uint8_t value;
	ret = i2c_reg_read_byte(bus, addr, 0x06, &value);
	if (ret) return ret;
	return value == 0x01 ? 0 : -EIO;
}

int main(void)
{
	bool configured[2] = { false, false };
	printk("ICM20948 I2C diagnostic: SCL=P0.31 SDA=P0.30 100kHz\n");
	if (!device_is_ready(bus)) {
		printk("I2C controller not ready\n");
		return 0;
	}
	k_msleep(100);
	while (true) {
		for (uint16_t addr = 0x68; addr <= 0x69; addr++) {
			uint8_t id = 0;
			int ret = i2c_reg_write_byte(bus, addr, 0x7f, 0);
			if (!ret) ret = i2c_reg_read_byte(bus, addr, 0, &id);
			printk("I2C 0x%02x: ret=%d WHO_AM_I=0x%02x\n", addr, ret, id);
			if (ret || id != 0xea) {
				configured[addr - 0x68] = false;
				continue;
			}
			if (!configured[addr - 0x68]) {
				ret = configure(addr);
				printk("I2C 0x%02x: wake/config ret=%d\n", addr, ret);
				if (ret) continue;
				configured[addr - 0x68] = true;
			}
			uint8_t raw[12];
			ret = i2c_burst_read(bus, addr, 0x2d, raw, sizeof(raw));
			if (ret) {
				printk("sample ret=%d\n", ret);
				continue;
			}
			int16_t v[6];
			for (int i = 0; i < 6; i++) v[i] = (int16_t)((raw[2*i] << 8) | raw[2*i+1]);
			printk("raw accel=%d,%d,%d gyro=%d,%d,%d\n", v[0], v[1], v[2], v[3], v[4], v[5]);
		}
		k_msleep(2000);
	}
	return 0;
}
```

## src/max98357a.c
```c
/*
 * MAX98357A I2S class-D amplifier driver.
 *
 * MAX98357A only supports LRCLK of 8/16/32/44.1/48/88.2/96 kHz.  On an
 * nRF52832 the internal 32 MHz clock can produce 8 kHz exactly (MCK =
 * 32 MHz / 125 = 256 kHz, MCK/LRCK = 32), so 8 kHz is used here.  At 8 kHz
 * the audio Nyquist frequency is 4 kHz, which covers the 50-800 Hz excitation
 * band used by this project.
 */

#include "max98357a.h"

#include <zephyr/drivers/gpio.h>
#include <zephyr/drivers/i2s.h>
#include <zephyr/logging/log.h>
#include <zephyr/sys/atomic.h>
#include <zephyr/sys/util.h>

LOG_MODULE_REGISTER(max98357a, LOG_LEVEL_INF);

#define DT_DRV_COMPAT maxim_max98357a

#define MAX98357A_BLOCK_BYTES	512U
#define MAX98357A_BLOCK_FRAMES	(MAX98357A_BLOCK_BYTES / (2U * sizeof(int16_t)))
#define MAX98357A_SLAB_BLOCKS	4U

K_MEM_SLAB_DEFINE_STATIC(max98357a_tx_slab, MAX98357A_BLOCK_BYTES,
			 MAX98357A_SLAB_BLOCKS, 4);

struct max98357a_config {
	const struct device *i2s;
	struct gpio_dt_spec sdin;
	uint32_t sample_rate;
	uint8_t word_size;
	uint8_t preload_blocks;
};

struct max98357a_data {
	bool running;
	atomic_t write_count;
	atomic_t error_count;
};

static int max98357a_configure_i2s(const struct device *dev)
{
	const struct max98357a_config *cfg = dev->config;
	struct i2s_config i2s_cfg = {
		.word_size = cfg->word_size,
		.channels = 2,
		.format = I2S_FMT_DATA_FORMAT_I2S,
		.options = I2S_OPT_BIT_CLK_CONTROLLER |
			   I2S_OPT_FRAME_CLK_CONTROLLER,
		.frame_clk_freq = cfg->sample_rate,
		.mem_slab = &max98357a_tx_slab,
		.block_size = MAX98357A_BLOCK_BYTES,
		.timeout = 1000,
	};
	int ret;

	ret = i2s_configure(cfg->i2s, I2S_DIR_TX, &i2s_cfg);
	if (ret != 0) {
		LOG_ERR("i2s_configure failed: %d", ret);
	}

	return ret;
}

static int max98357a_init(const struct device *dev)
{
	const struct max98357a_config *cfg = dev->config;
	struct max98357a_data *data = dev->data;
	int ret;

	data->running = false;
	atomic_set(&data->write_count, 0);
	atomic_set(&data->error_count, 0);

	if (!device_is_ready(cfg->i2s)) {
		LOG_ERR("I2S controller not ready");
		return -ENODEV;
	}

	if (!gpio_is_ready_dt(&cfg->sdin)) {
		LOG_ERR("SD_MODE GPIO not ready");
		return -ENODEV;
	}

	/* SD_MODE low: amplifier in shutdown while the system boots. */
	ret = gpio_pin_configure_dt(&cfg->sdin, GPIO_OUTPUT_INACTIVE);
	if (ret != 0) {
		LOG_ERR("SD_MODE GPIO configure failed: %d", ret);
		return ret;
	}

	LOG_INF("MAX98357A ready: %u Hz, %u-bit, %u frames/block",
		cfg->sample_rate, cfg->word_size, MAX98357A_BLOCK_FRAMES);

	return 0;
}

int max98357a_start(const struct device *dev)
{
	const struct max98357a_config *cfg = dev->config;
	struct max98357a_data *data = dev->data;
	static const uint8_t silence[MAX98357A_BLOCK_BYTES];
	int ret;

	if (data->running) {
		return 0;
	}

	ret = max98357a_configure_i2s(dev);
	if (ret != 0) {
		return ret;
	}

	/* Prime the DMA queue with silence.  This also guarantees that BCLK
	 * and LRCLK are stable before SD_MODE is raised.
	 */
	for (uint8_t i = 0; i < cfg->preload_blocks; i++) {
		ret = i2s_buf_write(cfg->i2s, (void *)silence,
				    sizeof(silence));
		if (ret != 0) {
			LOG_ERR("silence preload failed: %d", ret);
			goto fail;
		}
	}

	ret = i2s_trigger(cfg->i2s, I2S_DIR_TX, I2S_TRIGGER_START);
	if (ret != 0) {
		LOG_ERR("i2s_trigger start failed: %d", ret);
		goto fail;
	}

	/* Let the clocks run for a moment before waking the amplifier. */
	k_msleep(1);

	ret = gpio_pin_set_dt(&cfg->sdin, 1);
	if (ret != 0) {
		LOG_ERR("SD_MODE enable failed: %d", ret);
		(void)i2s_trigger(cfg->i2s, I2S_DIR_TX, I2S_TRIGGER_DROP);
		goto fail;
	}

	data->running = true;
	return 0;

fail:
	data->running = false;
	(void)gpio_pin_set_dt(&cfg->sdin, 0);
	return ret;
}

int max98357a_stop(const struct device *dev)
{
	const struct max98357a_config *cfg = dev->config;
	struct max98357a_data *data = dev->data;
	int ret = 0;

	/* Disable the amplifier first; never leave the class-D stage driving
	 * while BCLK/LRCLK disappear.
	 */
	if (gpio_pin_set_dt(&cfg->sdin, 0) != 0) {
		ret = -EIO;
	}

	k_msleep(1);

	if (data->running) {
		int trigger_ret = i2s_trigger(cfg->i2s, I2S_DIR_TX,
					      I2S_TRIGGER_DROP);

		if (trigger_ret != 0 && trigger_ret != -EIO) {
			ret = trigger_ret;
		}
	}

	data->running = false;
	return ret;
}

int max98357a_write(const struct device *dev, const int16_t *frames,
		    size_t frame_count)
{
	const struct max98357a_config *cfg = dev->config;
	struct max98357a_data *data = dev->data;
	size_t bytes;
	int ret;

	if (frames == NULL || frame_count == 0) {
		return -EINVAL;
	}

	bytes = frame_count * 2U * sizeof(int16_t);
	if (bytes > MAX98357A_BLOCK_BYTES) {
		return -EINVAL;
	}

	if (!data->running) {
		return -EIO;
	}

	ret = i2s_buf_write(cfg->i2s, (void *)frames, bytes);
	if (ret != 0) {
		atomic_inc(&data->error_count);
		return ret;
	}

	atomic_inc(&data->write_count);
	return 0;
}

uint32_t max98357a_sample_rate(const struct device *dev)
{
	const struct max98357a_config *cfg = dev->config;

	return cfg->sample_rate;
}

size_t max98357a_max_frames(const struct device *dev)
{
	ARG_UNUSED(dev);

	return MAX98357A_BLOCK_FRAMES;
}

int max98357a_enable(const struct device *dev, bool enable)
{
	const struct max98357a_config *cfg = dev->config;

	return gpio_pin_set_dt(&cfg->sdin, enable ? 1 : 0);
}

#define MAX98357A_INIT(n)                                                      \
	BUILD_ASSERT(DT_INST_PROP_OR(n, word_size, 16) == 16,                 \
		     "MAX98357A driver supports 16-bit PCM only");             \
	BUILD_ASSERT(DT_INST_PROP_OR(n, sample_rate, 8000) == 8000,           \
		     "nRF52832 can only generate 8 kHz exactly for the "       \
		     "MAX98357A supported LRCLK rates");                       \
	static struct max98357a_data max98357a_data_##n;                       \
	static const struct max98357a_config max98357a_config_##n = {          \
		.i2s = DEVICE_DT_GET(DT_INST_PHANDLE(n, i2s_controller)),       \
		.sdin = GPIO_DT_SPEC_INST_GET(n, sdin_gpios),                   \
		.sample_rate = DT_INST_PROP_OR(n, sample_rate, 8000),           \
		.word_size = DT_INST_PROP_OR(n, word_size, 16),                 \
		.preload_blocks = DT_INST_PROP_OR(n, preload_blocks, 3),        \
	};                                                                     \
	DEVICE_DT_INST_DEFINE(n, max98357a_init, NULL, &max98357a_data_##n,   \
			      &max98357a_config_##n, POST_KERNEL, 85, NULL);

DT_INST_FOREACH_STATUS_OKAY(MAX98357A_INIT)
```
